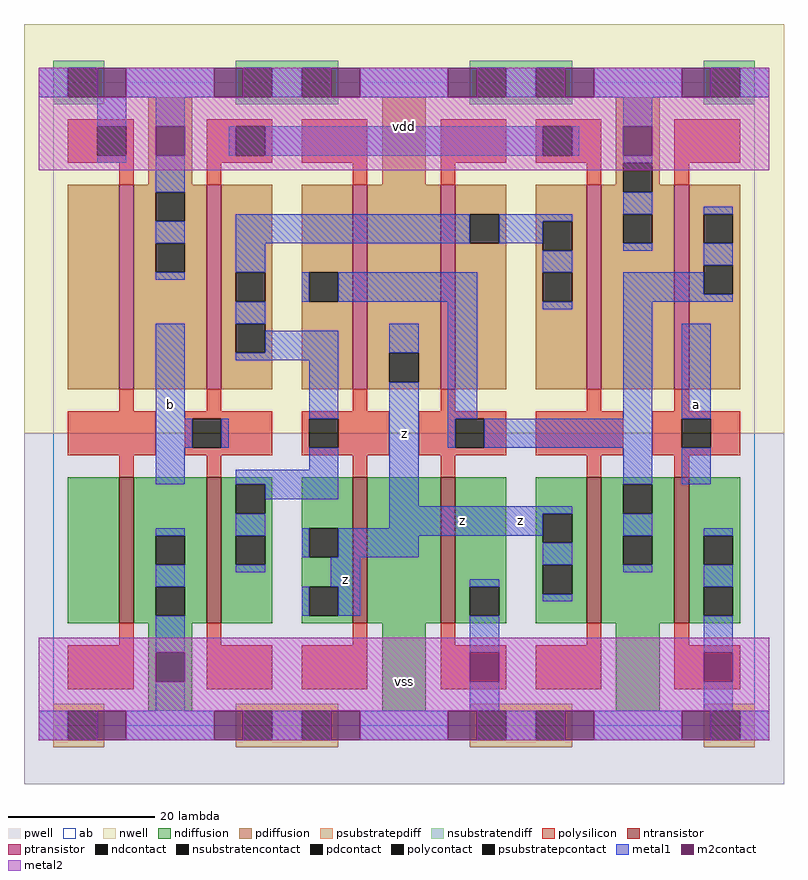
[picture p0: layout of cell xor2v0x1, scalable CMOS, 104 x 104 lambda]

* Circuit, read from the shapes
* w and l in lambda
.subckt xor2v0x1 a b vdd vss z
M1 vss vdd n1 vss nfet w=20 l=2
M2 n2 b vss vss nfet w=20 l=2
M3 n3 n2 z vss nfet w=20 l=2
M4 vss n4 n3 vss nfet w=20 l=2
M5 n4 b z vss nfet w=20 l=2
M6 vss a n4 vss nfet w=20 l=2
M7 vdd vdd n5 vdd pfet w=28 l=2
M8 n2 b vdd vdd pfet w=28 l=2 m=2
M9 z n2 n4 vdd pfet w=28 l=2
M10 n2 n4 z vdd pfet w=28 l=2
M11 n4 a vdd vdd pfet w=28 l=2
.ends

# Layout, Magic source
magic
tech scmos
<< ab >>
rect 0 0 96 88
<< pwell >>
rect -4 -8 100 40
<< nwell >>
rect -4 40 100 96
<< polysilicon >>
rect 2 82 11 83
rect 2 78 6 82
rect 10 78 11 82
rect 2 77 11 78
rect 9 74 11 77
rect 21 82 30 83
rect 21 78 25 82
rect 29 78 30 82
rect 21 77 30 78
rect 34 77 43 83
rect 21 74 23 77
rect 41 74 43 77
rect 53 77 62 83
rect 66 82 75 83
rect 66 78 67 82
rect 71 78 75 82
rect 66 77 75 78
rect 53 74 55 77
rect 73 74 75 77
rect 85 77 94 83
rect 85 74 87 77
rect 9 43 11 46
rect 21 43 23 46
rect 41 43 43 46
rect 53 43 55 46
rect 73 43 75 46
rect 85 43 87 46
rect 2 37 14 43
rect 18 42 30 43
rect 18 38 19 42
rect 23 38 30 42
rect 18 37 30 38
rect 34 42 46 43
rect 34 38 35 42
rect 39 38 46 42
rect 34 37 46 38
rect 50 42 62 43
rect 50 38 55 42
rect 59 38 62 42
rect 50 37 62 38
rect 66 37 78 43
rect 82 42 94 43
rect 82 38 86 42
rect 90 38 94 42
rect 82 37 94 38
rect 9 34 11 37
rect 21 34 23 37
rect 41 34 43 37
rect 53 34 55 37
rect 73 34 75 37
rect 85 34 87 37
rect 9 11 11 14
rect 2 5 11 11
rect 21 11 23 14
rect 41 11 43 14
rect 21 5 30 11
rect 34 5 43 11
rect 53 11 55 14
rect 73 11 75 14
rect 53 5 62 11
rect 66 5 75 11
rect 85 11 87 14
rect 85 5 94 11
<< ndiffusion >>
rect 2 14 9 34
rect 11 26 21 34
rect 11 22 14 26
rect 18 22 21 26
rect 11 19 21 22
rect 11 15 14 19
rect 18 15 21 19
rect 11 14 21 15
rect 23 33 30 34
rect 23 29 25 33
rect 29 29 30 33
rect 23 26 30 29
rect 23 22 25 26
rect 29 22 30 26
rect 23 14 30 22
rect 34 27 41 34
rect 34 23 35 27
rect 39 23 41 27
rect 34 19 41 23
rect 34 15 35 19
rect 39 15 41 19
rect 34 14 41 15
rect 43 14 53 34
rect 55 19 62 34
rect 55 15 57 19
rect 61 15 62 19
rect 55 14 62 15
rect 66 29 73 34
rect 66 25 67 29
rect 71 25 73 29
rect 66 22 73 25
rect 66 18 67 22
rect 71 18 73 22
rect 66 14 73 18
rect 75 33 85 34
rect 75 29 78 33
rect 82 29 85 33
rect 75 26 85 29
rect 75 22 78 26
rect 82 22 85 26
rect 75 14 85 22
rect 87 26 94 34
rect 87 22 89 26
rect 93 22 94 26
rect 87 19 94 22
rect 87 15 89 19
rect 93 15 94 19
rect 87 14 94 15
rect 13 2 19 14
rect 45 2 51 14
rect 77 2 83 14
<< pdiffusion >>
rect 13 74 19 86
rect 45 74 51 86
rect 77 77 83 86
rect 77 74 78 77
rect 2 46 9 74
rect 11 73 21 74
rect 11 69 14 73
rect 18 69 21 73
rect 11 66 21 69
rect 11 62 14 66
rect 18 62 21 66
rect 11 46 21 62
rect 23 62 30 74
rect 23 58 25 62
rect 29 58 30 62
rect 23 55 30 58
rect 23 51 25 55
rect 29 51 30 55
rect 23 46 30 51
rect 34 62 41 74
rect 34 58 35 62
rect 39 58 41 62
rect 34 46 41 58
rect 43 51 53 74
rect 43 47 46 51
rect 50 47 53 51
rect 43 46 53 47
rect 55 70 62 74
rect 55 66 57 70
rect 61 66 62 70
rect 55 46 62 66
rect 66 69 73 74
rect 66 65 67 69
rect 71 65 73 69
rect 66 62 73 65
rect 66 58 67 62
rect 71 58 73 62
rect 66 46 73 58
rect 75 73 78 74
rect 82 74 83 77
rect 82 73 85 74
rect 75 70 85 73
rect 75 66 78 70
rect 82 66 85 70
rect 75 46 85 66
rect 87 70 94 74
rect 87 66 89 70
rect 93 66 94 70
rect 87 63 94 66
rect 87 59 89 63
rect 93 59 94 63
rect 87 46 94 59
<< metal1 >>
rect -2 86 2 90
rect 10 86 22 90
rect 30 86 34 90
rect 42 86 54 90
rect 62 86 66 90
rect 74 86 86 90
rect 94 86 98 90
rect 6 82 10 86
rect 6 77 10 78
rect 14 82 18 86
rect 78 82 82 86
rect 24 78 25 82
rect 29 78 67 82
rect 71 78 72 82
rect 14 73 18 78
rect 78 77 82 78
rect 78 70 82 73
rect 14 66 18 69
rect 14 61 18 62
rect 25 66 57 70
rect 61 69 71 70
rect 61 66 67 69
rect 25 62 29 66
rect 78 65 82 66
rect 89 70 93 71
rect 67 62 71 65
rect 89 63 93 66
rect 34 58 35 62
rect 39 58 58 62
rect 25 55 29 58
rect 14 42 18 55
rect 29 51 39 54
rect 25 50 39 51
rect 35 42 39 50
rect 14 38 19 42
rect 23 38 24 42
rect 14 33 18 38
rect 35 35 39 38
rect 25 33 39 35
rect 29 31 39 33
rect 46 51 50 55
rect 14 26 18 27
rect 14 19 18 22
rect 25 26 29 29
rect 46 30 50 47
rect 54 42 58 58
rect 67 57 71 58
rect 78 59 89 62
rect 78 58 93 59
rect 78 42 82 58
rect 54 38 55 42
rect 59 38 82 42
rect 78 33 82 38
rect 86 42 90 55
rect 86 33 90 38
rect 46 29 71 30
rect 46 27 67 29
rect 34 23 35 27
rect 39 26 67 27
rect 39 23 50 26
rect 25 21 29 22
rect 38 19 42 23
rect 67 22 71 25
rect 34 15 35 19
rect 39 15 42 19
rect 57 19 61 20
rect 78 26 82 29
rect 78 21 82 22
rect 89 26 93 27
rect 67 17 71 18
rect 89 19 93 22
rect 14 10 18 15
rect 14 2 18 6
rect 57 10 61 15
rect 57 2 61 6
rect 89 10 93 15
rect 89 2 93 6
rect -2 -2 2 2
rect 10 -2 22 2
rect 30 -2 34 2
rect 42 -2 54 2
rect 62 -2 66 2
rect 74 -2 86 2
rect 94 -2 98 2
<< metal2 >>
rect -2 86 6 90
rect 10 86 22 90
rect 26 86 38 90
rect 42 86 54 90
rect 58 86 70 90
rect 74 86 86 90
rect 90 86 98 90
rect -2 82 98 86
rect -2 78 14 82
rect 18 78 78 82
rect 82 78 98 82
rect -2 76 98 78
rect -2 10 98 12
rect -2 6 14 10
rect 18 6 57 10
rect 61 6 89 10
rect 93 6 98 10
rect -2 2 98 6
rect -2 -2 6 2
rect 10 -2 22 2
rect 26 -2 38 2
rect 42 -2 54 2
rect 58 -2 70 2
rect 74 -2 86 2
rect 90 -2 98 2
<< ntransistor >>
rect 9 14 11 34
rect 21 14 23 34
rect 41 14 43 34
rect 53 14 55 34
rect 73 14 75 34
rect 85 14 87 34
<< ptransistor >>
rect 9 46 11 74
rect 21 46 23 74
rect 41 46 43 74
rect 53 46 55 74
rect 73 46 75 74
rect 85 46 87 74
<< polycontact >>
rect 6 78 10 82
rect 25 78 29 82
rect 67 78 71 82
rect 19 38 23 42
rect 35 38 39 42
rect 55 38 59 42
rect 86 38 90 42
<< ndcontact >>
rect 14 22 18 26
rect 14 15 18 19
rect 25 29 29 33
rect 25 22 29 26
rect 35 23 39 27
rect 35 15 39 19
rect 57 15 61 19
rect 67 25 71 29
rect 67 18 71 22
rect 78 29 82 33
rect 78 22 82 26
rect 89 22 93 26
rect 89 15 93 19
<< pdcontact >>
rect 14 69 18 73
rect 14 62 18 66
rect 25 58 29 62
rect 25 51 29 55
rect 35 58 39 62
rect 46 47 50 51
rect 57 66 61 70
rect 67 65 71 69
rect 67 58 71 62
rect 78 73 82 77
rect 78 66 82 70
rect 89 66 93 70
rect 89 59 93 63
<< m2contact >>
rect 6 86 10 90
rect 22 86 26 90
rect 38 86 42 90
rect 54 86 58 90
rect 70 86 74 90
rect 86 86 90 90
rect 14 78 18 82
rect 78 78 82 82
rect 14 6 18 10
rect 57 6 61 10
rect 89 6 93 10
rect 6 -2 10 2
rect 22 -2 26 2
rect 38 -2 42 2
rect 54 -2 58 2
rect 70 -2 74 2
rect 86 -2 90 2
<< psubstratepcontact >>
rect 2 -2 6 2
rect 26 -2 30 2
rect 34 -2 38 2
rect 58 -2 62 2
rect 66 -2 70 2
rect 90 -2 94 2
<< nsubstratencontact >>
rect 2 86 6 90
rect 26 86 30 90
rect 34 86 38 90
rect 58 86 62 90
rect 66 86 70 90
rect 90 86 94 90
<< psubstratepdiff >>
rect 0 2 7 3
rect 25 2 39 3
rect 57 2 71 3
rect 89 2 96 3
rect 0 -2 2 2
rect 6 -2 7 2
rect 0 -3 7 -2
rect 25 -2 26 2
rect 30 -2 34 2
rect 38 -2 39 2
rect 25 -3 39 -2
rect 57 -2 58 2
rect 62 -2 66 2
rect 70 -2 71 2
rect 57 -3 71 -2
rect 89 -2 90 2
rect 94 -2 96 2
rect 89 -3 96 -2
<< nsubstratendiff >>
rect 0 90 7 91
rect 0 86 2 90
rect 6 86 7 90
rect 25 90 39 91
rect 25 86 26 90
rect 30 86 34 90
rect 38 86 39 90
rect 57 90 71 91
rect 57 86 58 90
rect 62 86 66 90
rect 70 86 71 90
rect 89 90 96 91
rect 89 86 90 90
rect 94 86 96 90
rect 0 85 7 86
rect 25 85 39 86
rect 57 85 71 86
rect 89 85 96 86
<< labels >>
rlabel metal1 16 44 16 44 6 b
rlabel metal1 40 20 40 20 6 z
rlabel metal1 56 28 56 28 6 z
rlabel metal1 48 40 48 40 6 z
rlabel metal1 64 28 64 28 6 z
rlabel metal1 88 44 88 44 6 a
rlabel metal2 48 6 48 6 6 vss
rlabel metal2 48 82 48 82 6 vdd
<< end >>
